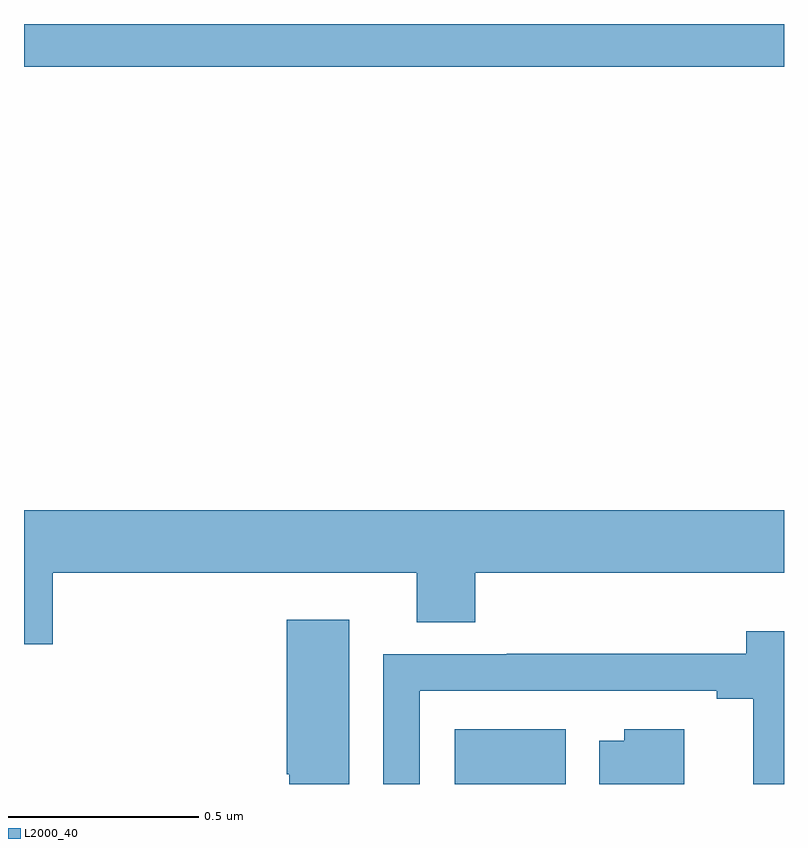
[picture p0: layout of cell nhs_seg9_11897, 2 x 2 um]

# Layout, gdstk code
import gdstk
lib = gdstk.Library(unit=1e-6, precision=1e-09)
def R(c, l, rs):  # rectangles x0, y0, x1, y1
    for r in rs: c.add(gdstk.rectangle(r[:2], r[2:], *l))
def P(c, l, *ps):  # polygons
    for p in ps: c.add(gdstk.Polygon(p, *l))
L2000_40 = (2000, 40)

nhs_seg9_11897 = lib.new_cell('nhs_seg9_11897')
R(nhs_seg9_11897, L2000_40, [(262.133,1226.5,262.426,1226.644), (261,1228.388,263,1228.5)])
P(nhs_seg9_11897, L2000_40, [(261.076,1227.056),(262.034,1227.056),(262.034,1226.926),(262.187,1226.926),(262.187,1227.056),(263,1227.056),(263,1227.22),(261,1227.22),(261,1226.868),(261.076,1226.868)],
  [(261.856,1226.932),(261.692,1226.932),(261.692,1226.526),(261.698,1226.526),(261.698,1226.5),(261.856,1226.5)],
  [(262.041,1226.745),(262.823,1226.745),(262.823,1226.725),(262.919,1226.725),(262.919,1226.5),(263,1226.5),(263,1226.902),(262.9,1226.902),(262.9,1226.843),(262.27,1226.843),(262.27,1226.841),(261.945,1226.841),(261.945,1226.5),(262.041,1226.5)],
  [(262.738,1226.644),(262.58,1226.644),(262.58,1226.614),(262.514,1226.614),(262.514,1226.5),(262.738,1226.5)])

lib.write_gds('nhs_seg9_11897.gds')
